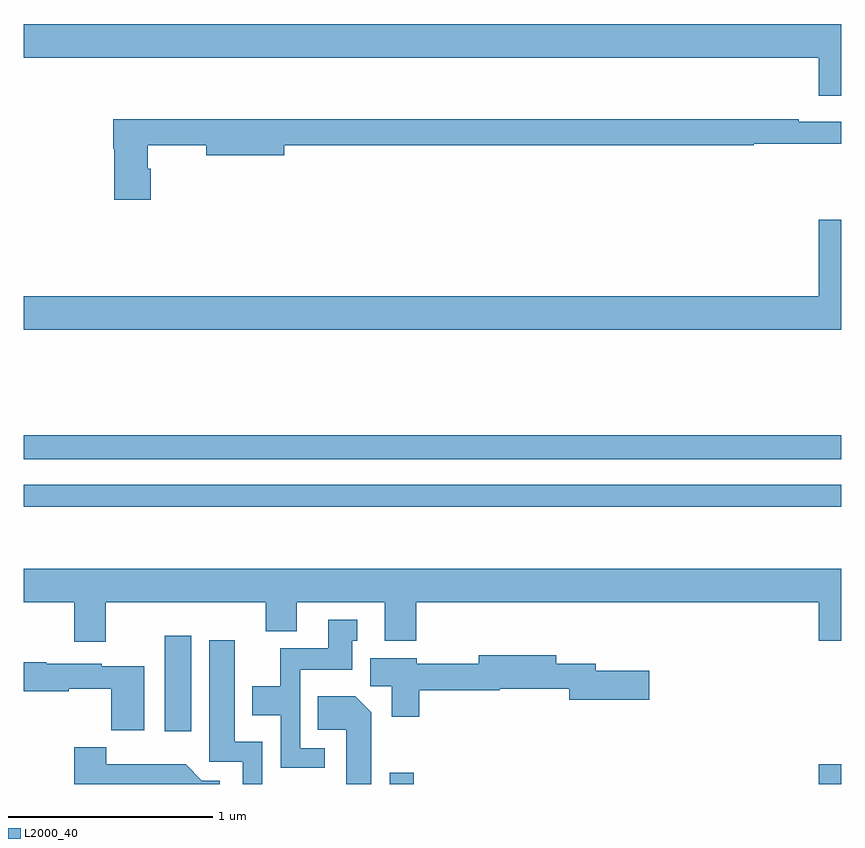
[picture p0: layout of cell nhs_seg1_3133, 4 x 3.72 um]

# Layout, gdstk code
import gdstk
lib = gdstk.Library(unit=1e-6, precision=1e-09)
def R(c, l, rs):  # rectangles x0, y0, x1, y1
    for r in rs: c.add(gdstk.rectangle(r[:2], r[2:], *l))
def P(c, l, *ps):  # polygons
    for p in ps: c.add(gdstk.Polygon(p, *l))
L2000_40 = (2000, 40)

nhs_seg1_3133 = lib.new_cell('nhs_seg1_3133')
R(nhs_seg1_3133, L2000_40, [(282.792,528.199,282.908,528.253), (284.888,528.199,285,528.295), (281.69,528.456,281.821,528.925), (281,529.554,285,529.662), (281,529.788,285,529.904)])
P(nhs_seg1_3133, L2000_40, [(285,531.916),(281,531.916),(281,531.752),(284.888,531.752),(284.888,531.564),(285,531.564)],
  [(281.621,531.207),(281.608,531.207),(281.608,531.322),(281.894,531.322),(281.894,531.275),(282.274,531.275),(282.274,531.322),(284.57,531.322),(284.57,531.33),(285,531.33),(285,531.438),(284.792,531.438),(284.792,531.451),(281.438,531.451),(281.438,531.305),(281.443,531.305),(281.443,531.057),(281.621,531.057)],
  [(285,530.959),(284.888,530.959),(284.888,530.584),(281,530.584),(281,530.42),(285,530.42)],
  [(281,529.088),(281.249,529.088),(281.249,528.894),(281.401,528.894),(281.401,529.088),(282.185,529.088),(282.185,528.947),(282.337,528.947),(282.337,529.088),(282.767,529.088),(282.767,528.899),(282.92,528.899),(282.92,529.088),(284.888,529.088),(284.888,528.9),(285,528.9),(285,529.252),(281,529.252)],
  [(282.472,528.375),(282.354,528.375),(282.354,528.758),(282.607,528.758),(282.607,528.9),(282.631,528.9),(282.631,529.003),(282.491,529.003),(282.491,528.862),(282.256,528.862),(282.256,528.676),(282.119,528.676),(282.119,528.536),(282.258,528.536),(282.258,528.279),(282.472,528.279)],
  [(282.168,528.406),(282.034,528.406),(282.034,528.901),(281.909,528.901),(281.909,528.309),(282.072,528.309),(282.072,528.199),(282.168,528.199)],
  [(282.935,528.658),(283.33,528.658),(283.33,528.665),(283.67,528.665),(283.67,528.611),(284.059,528.611),(284.059,528.753),(283.798,528.753),(283.798,528.787),(283.606,528.787),(283.606,528.829),(283.226,528.829),(283.226,528.787),(282.922,528.787),(282.922,528.814),(282.695,528.814),(282.695,528.676),(282.8,528.676),(282.8,528.528),(282.935,528.528)],
  [(281.59,528.775),(281.382,528.775),(281.382,528.787),(281.11,528.787),(281.11,528.795),(281,528.795),(281,528.653),(281.22,528.653),(281.22,528.665),(281.428,528.665),(281.428,528.461),(281.59,528.461)],
  [(282.7,528.55),(282.622,528.628),(282.439,528.628),(282.439,528.464),(282.578,528.464),(282.578,528.199),(282.7,528.199)],
  [(281.959,528.216),(281.871,528.216),(281.793,528.295),(281.404,528.295),(281.404,528.379),(281.249,528.379),(281.249,528.199),(281.959,528.199)])

lib.write_gds('nhs_seg1_3133.gds')
